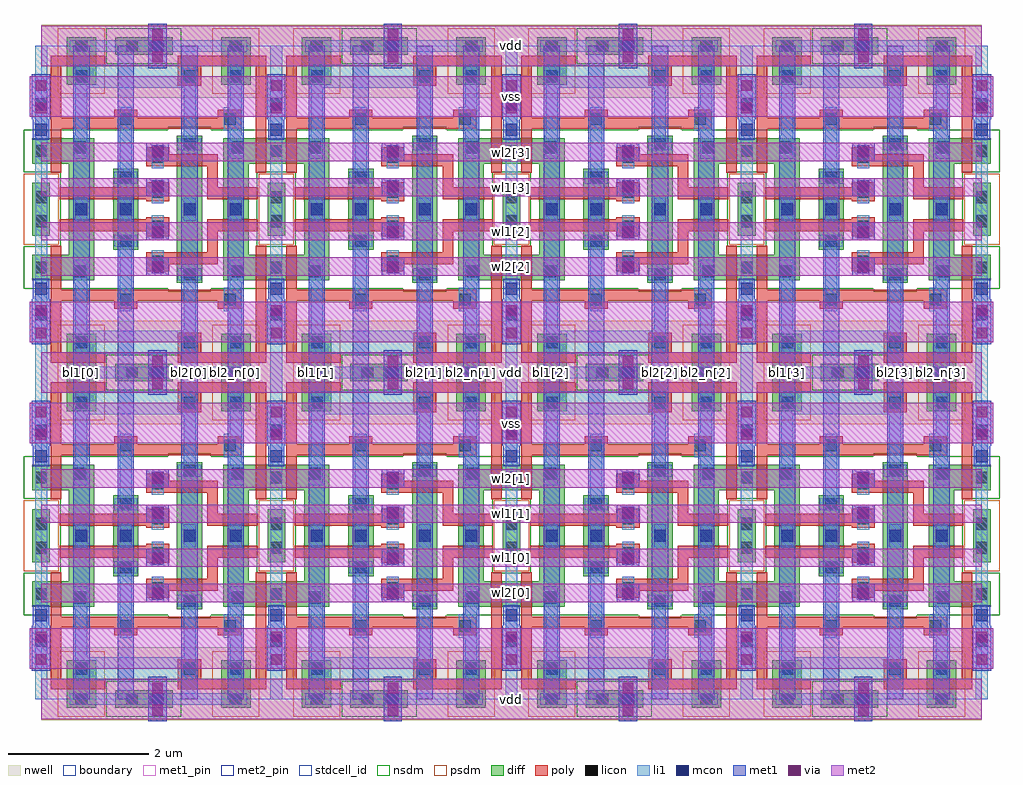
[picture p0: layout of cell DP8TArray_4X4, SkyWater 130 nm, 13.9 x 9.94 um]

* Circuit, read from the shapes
.subckt DP8TArray_4X4 bl1[0] bl1[1] bl1[2] bl1[3] bl1_n[0] bl1_n[1] bl1_n[2] bl1_n[3] bl2[0] bl2[1] bl2[2] bl2[3] bl2_n[0] bl2_n[1] bl2_n[2] bl2_n[3] vdd vss wl1[0] wl1[1] wl1[2] wl1[3] wl2[0] wl2[1] wl2[2] wl2[3]
XM1 n1 n2 vss VSUBS sky130_fd_pr__nfet_01v8 w=0.36 l=0.15
XM2 n3 n4 vss VSUBS sky130_fd_pr__nfet_01v8 w=0.36 l=0.15
XM3 n5 n6 vss VSUBS sky130_fd_pr__nfet_01v8 w=0.36 l=0.15
XM4 n7 n8 vss VSUBS sky130_fd_pr__nfet_01v8 w=0.36 l=0.15
XM5 bl1[0] wl1[0] n1 VSUBS sky130_fd_pr__nfet_01v8 w=0.36 l=0.17
XM6 n3 wl1[1] bl1[0] VSUBS sky130_fd_pr__nfet_01v8 w=0.36 l=0.17
XM7 bl1[0] wl1[2] n5 VSUBS sky130_fd_pr__nfet_01v8 w=0.36 l=0.17
XM8 n7 wl1[3] bl1[0] VSUBS sky130_fd_pr__nfet_01v8 w=0.36 l=0.17
XM9 bl1_n[0] wl1[0] n2 VSUBS sky130_fd_pr__nfet_01v8 w=0.36 l=0.17
XM10 n4 wl1[1] bl1_n[0] VSUBS sky130_fd_pr__nfet_01v8 w=0.36 l=0.17
XM11 bl1_n[0] wl1[2] n6 VSUBS sky130_fd_pr__nfet_01v8 w=0.36 l=0.17
XM12 n8 wl1[3] bl1_n[0] VSUBS sky130_fd_pr__nfet_01v8 w=0.36 l=0.17
XM13 bl2[0] wl2[0] n1 VSUBS sky130_fd_pr__nfet_01v8 w=0.36 l=0.17
XM14 n3 wl2[1] bl2[0] VSUBS sky130_fd_pr__nfet_01v8 w=0.36 l=0.17
XM15 bl2[0] wl2[2] n5 VSUBS sky130_fd_pr__nfet_01v8 w=0.36 l=0.17
XM16 n7 wl2[3] bl2[0] VSUBS sky130_fd_pr__nfet_01v8 w=0.36 l=0.17
XM17 bl2_n[0] wl2[0] n2 VSUBS sky130_fd_pr__nfet_01v8 w=0.36 l=0.17
XM18 n4 wl2[1] bl2_n[0] VSUBS sky130_fd_pr__nfet_01v8 w=0.36 l=0.17
XM19 bl2_n[0] wl2[2] n6 VSUBS sky130_fd_pr__nfet_01v8 w=0.36 l=0.17
XM20 n8 wl2[3] bl2_n[0] VSUBS sky130_fd_pr__nfet_01v8 w=0.36 l=0.17
XM21 vss n1 n2 VSUBS sky130_fd_pr__nfet_01v8 w=0.36 l=0.15
XM22 vss n3 n4 VSUBS sky130_fd_pr__nfet_01v8 w=0.36 l=0.15
XM23 vss n5 n6 VSUBS sky130_fd_pr__nfet_01v8 w=0.36 l=0.15
XM24 vss n7 n8 VSUBS sky130_fd_pr__nfet_01v8 w=0.36 l=0.15
XM25 n9 n10 vss VSUBS sky130_fd_pr__nfet_01v8 w=0.36 l=0.15
XM26 n11 n12 vss VSUBS sky130_fd_pr__nfet_01v8 w=0.36 l=0.15
XM27 n13 n14 vss VSUBS sky130_fd_pr__nfet_01v8 w=0.36 l=0.15
XM28 n15 n16 vss VSUBS sky130_fd_pr__nfet_01v8 w=0.36 l=0.15
XM29 bl1[1] wl1[0] n9 VSUBS sky130_fd_pr__nfet_01v8 w=0.36 l=0.17
XM30 n11 wl1[1] bl1[1] VSUBS sky130_fd_pr__nfet_01v8 w=0.36 l=0.17
XM31 bl1[1] wl1[2] n13 VSUBS sky130_fd_pr__nfet_01v8 w=0.36 l=0.17
XM32 n15 wl1[3] bl1[1] VSUBS sky130_fd_pr__nfet_01v8 w=0.36 l=0.17
XM33 bl1_n[1] wl1[0] n10 VSUBS sky130_fd_pr__nfet_01v8 w=0.36 l=0.17
XM34 n12 wl1[1] bl1_n[1] VSUBS sky130_fd_pr__nfet_01v8 w=0.36 l=0.17
XM35 bl1_n[1] wl1[2] n14 VSUBS sky130_fd_pr__nfet_01v8 w=0.36 l=0.17
XM36 n16 wl1[3] bl1_n[1] VSUBS sky130_fd_pr__nfet_01v8 w=0.36 l=0.17
XM37 bl2[1] wl2[0] n9 VSUBS sky130_fd_pr__nfet_01v8 w=0.36 l=0.17
XM38 n11 wl2[1] bl2[1] VSUBS sky130_fd_pr__nfet_01v8 w=0.36 l=0.17
XM39 bl2[1] wl2[2] n13 VSUBS sky130_fd_pr__nfet_01v8 w=0.36 l=0.17
XM40 n15 wl2[3] bl2[1] VSUBS sky130_fd_pr__nfet_01v8 w=0.36 l=0.17
XM41 bl2_n[1] wl2[0] n10 VSUBS sky130_fd_pr__nfet_01v8 w=0.36 l=0.17
XM42 n12 wl2[1] bl2_n[1] VSUBS sky130_fd_pr__nfet_01v8 w=0.36 l=0.17
XM43 bl2_n[1] wl2[2] n14 VSUBS sky130_fd_pr__nfet_01v8 w=0.36 l=0.17
XM44 n16 wl2[3] bl2_n[1] VSUBS sky130_fd_pr__nfet_01v8 w=0.36 l=0.17
XM45 vss n9 n10 VSUBS sky130_fd_pr__nfet_01v8 w=0.36 l=0.15
XM46 vss n11 n12 VSUBS sky130_fd_pr__nfet_01v8 w=0.36 l=0.15
XM47 vss n13 n14 VSUBS sky130_fd_pr__nfet_01v8 w=0.36 l=0.15
XM48 vss n15 n16 VSUBS sky130_fd_pr__nfet_01v8 w=0.36 l=0.15
XM49 n17 n18 vss VSUBS sky130_fd_pr__nfet_01v8 w=0.36 l=0.15
XM50 n19 n20 vss VSUBS sky130_fd_pr__nfet_01v8 w=0.36 l=0.15
XM51 n21 n22 vss VSUBS sky130_fd_pr__nfet_01v8 w=0.36 l=0.15
XM52 n23 n24 vss VSUBS sky130_fd_pr__nfet_01v8 w=0.36 l=0.15
XM53 bl1[2] wl1[0] n17 VSUBS sky130_fd_pr__nfet_01v8 w=0.36 l=0.17
XM54 n19 wl1[1] bl1[2] VSUBS sky130_fd_pr__nfet_01v8 w=0.36 l=0.17
XM55 bl1[2] wl1[2] n21 VSUBS sky130_fd_pr__nfet_01v8 w=0.36 l=0.17
XM56 n23 wl1[3] bl1[2] VSUBS sky130_fd_pr__nfet_01v8 w=0.36 l=0.17
XM57 bl1_n[2] wl1[0] n18 VSUBS sky130_fd_pr__nfet_01v8 w=0.36 l=0.17
XM58 n20 wl1[1] bl1_n[2] VSUBS sky130_fd_pr__nfet_01v8 w=0.36 l=0.17
XM59 bl1_n[2] wl1[2] n22 VSUBS sky130_fd_pr__nfet_01v8 w=0.36 l=0.17
XM60 n24 wl1[3] bl1_n[2] VSUBS sky130_fd_pr__nfet_01v8 w=0.36 l=0.17
XM61 bl2[2] wl2[0] n17 VSUBS sky130_fd_pr__nfet_01v8 w=0.36 l=0.17
XM62 n19 wl2[1] bl2[2] VSUBS sky130_fd_pr__nfet_01v8 w=0.36 l=0.17
XM63 bl2[2] wl2[2] n21 VSUBS sky130_fd_pr__nfet_01v8 w=0.36 l=0.17
XM64 n23 wl2[3] bl2[2] VSUBS sky130_fd_pr__nfet_01v8 w=0.36 l=0.17
XM65 bl2_n[2] wl2[0] n18 VSUBS sky130_fd_pr__nfet_01v8 w=0.36 l=0.17
XM66 n20 wl2[1] bl2_n[2] VSUBS sky130_fd_pr__nfet_01v8 w=0.36 l=0.17
XM67 bl2_n[2] wl2[2] n22 VSUBS sky130_fd_pr__nfet_01v8 w=0.36 l=0.17
XM68 n24 wl2[3] bl2_n[2] VSUBS sky130_fd_pr__nfet_01v8 w=0.36 l=0.17
XM69 vss n17 n18 VSUBS sky130_fd_pr__nfet_01v8 w=0.36 l=0.15
XM70 vss n19 n20 VSUBS sky130_fd_pr__nfet_01v8 w=0.36 l=0.15
XM71 vss n21 n22 VSUBS sky130_fd_pr__nfet_01v8 w=0.36 l=0.15
XM72 vss n23 n24 VSUBS sky130_fd_pr__nfet_01v8 w=0.36 l=0.15
XM73 n25 n26 vss VSUBS sky130_fd_pr__nfet_01v8 w=0.36 l=0.15
XM74 n27 n28 vss VSUBS sky130_fd_pr__nfet_01v8 w=0.36 l=0.15
XM75 n29 n30 vss VSUBS sky130_fd_pr__nfet_01v8 w=0.36 l=0.15
XM76 n31 n32 vss VSUBS sky130_fd_pr__nfet_01v8 w=0.36 l=0.15
XM77 bl1[3] wl1[0] n25 VSUBS sky130_fd_pr__nfet_01v8 w=0.36 l=0.17
XM78 n27 wl1[1] bl1[3] VSUBS sky130_fd_pr__nfet_01v8 w=0.36 l=0.17
XM79 bl1[3] wl1[2] n29 VSUBS sky130_fd_pr__nfet_01v8 w=0.36 l=0.17
XM80 n31 wl1[3] bl1[3] VSUBS sky130_fd_pr__nfet_01v8 w=0.36 l=0.17
XM81 bl1_n[3] wl1[0] n26 VSUBS sky130_fd_pr__nfet_01v8 w=0.36 l=0.17
XM82 n28 wl1[1] bl1_n[3] VSUBS sky130_fd_pr__nfet_01v8 w=0.36 l=0.17
XM83 bl1_n[3] wl1[2] n30 VSUBS sky130_fd_pr__nfet_01v8 w=0.36 l=0.17
XM84 n32 wl1[3] bl1_n[3] VSUBS sky130_fd_pr__nfet_01v8 w=0.36 l=0.17
XM85 bl2[3] wl2[0] n25 VSUBS sky130_fd_pr__nfet_01v8 w=0.36 l=0.17
XM86 n27 wl2[1] bl2[3] VSUBS sky130_fd_pr__nfet_01v8 w=0.36 l=0.17
XM87 bl2[3] wl2[2] n29 VSUBS sky130_fd_pr__nfet_01v8 w=0.36 l=0.17
XM88 n31 wl2[3] bl2[3] VSUBS sky130_fd_pr__nfet_01v8 w=0.36 l=0.17
XM89 bl2_n[3] wl2[0] n26 VSUBS sky130_fd_pr__nfet_01v8 w=0.36 l=0.17
XM90 n28 wl2[1] bl2_n[3] VSUBS sky130_fd_pr__nfet_01v8 w=0.36 l=0.17
XM91 bl2_n[3] wl2[2] n30 VSUBS sky130_fd_pr__nfet_01v8 w=0.36 l=0.17
XM92 n32 wl2[3] bl2_n[3] VSUBS sky130_fd_pr__nfet_01v8 w=0.36 l=0.17
XM93 vss n25 n26 VSUBS sky130_fd_pr__nfet_01v8 w=0.36 l=0.15
XM94 vss n27 n28 VSUBS sky130_fd_pr__nfet_01v8 w=0.36 l=0.15
XM95 vss n29 n30 VSUBS sky130_fd_pr__nfet_01v8 w=0.36 l=0.15
XM96 vss n31 n32 VSUBS sky130_fd_pr__nfet_01v8 w=0.36 l=0.15
XM97 n1 n2 vdd n33 sky130_fd_pr__pfet_01v8 w=0.42 l=0.15
XM98 vdd n4 n3 n34 sky130_fd_pr__pfet_01v8 w=0.42 l=0.15
XM99 n5 n6 vdd n34 sky130_fd_pr__pfet_01v8 w=0.42 l=0.15
XM100 vdd n8 n7 n35 sky130_fd_pr__pfet_01v8 w=0.42 l=0.15
XM101 n2 n1 vdd n33 sky130_fd_pr__pfet_01v8 w=0.42 l=0.15
XM102 vdd n3 n4 n34 sky130_fd_pr__pfet_01v8 w=0.42 l=0.15
XM103 n6 n5 vdd n34 sky130_fd_pr__pfet_01v8 w=0.42 l=0.15
XM104 vdd n7 n8 n35 sky130_fd_pr__pfet_01v8 w=0.42 l=0.15
XM105 n9 n10 vdd n33 sky130_fd_pr__pfet_01v8 w=0.42 l=0.15
XM106 vdd n12 n11 n34 sky130_fd_pr__pfet_01v8 w=0.42 l=0.15
XM107 n13 n14 vdd n34 sky130_fd_pr__pfet_01v8 w=0.42 l=0.15
XM108 vdd n16 n15 n35 sky130_fd_pr__pfet_01v8 w=0.42 l=0.15
XM109 n10 n9 vdd n33 sky130_fd_pr__pfet_01v8 w=0.42 l=0.15
XM110 vdd n11 n12 n34 sky130_fd_pr__pfet_01v8 w=0.42 l=0.15
XM111 n14 n13 vdd n34 sky130_fd_pr__pfet_01v8 w=0.42 l=0.15
XM112 vdd n15 n16 n35 sky130_fd_pr__pfet_01v8 w=0.42 l=0.15
XM113 n17 n18 vdd n33 sky130_fd_pr__pfet_01v8 w=0.42 l=0.15
XM114 vdd n20 n19 n34 sky130_fd_pr__pfet_01v8 w=0.42 l=0.15
XM115 n21 n22 vdd n34 sky130_fd_pr__pfet_01v8 w=0.42 l=0.15
XM116 vdd n24 n23 n35 sky130_fd_pr__pfet_01v8 w=0.42 l=0.15
XM117 n18 n17 vdd n33 sky130_fd_pr__pfet_01v8 w=0.42 l=0.15
XM118 vdd n19 n20 n34 sky130_fd_pr__pfet_01v8 w=0.42 l=0.15
XM119 n22 n21 vdd n34 sky130_fd_pr__pfet_01v8 w=0.42 l=0.15
XM120 vdd n23 n24 n35 sky130_fd_pr__pfet_01v8 w=0.42 l=0.15
XM121 n25 n26 vdd n33 sky130_fd_pr__pfet_01v8 w=0.42 l=0.15
XM122 vdd n28 n27 n34 sky130_fd_pr__pfet_01v8 w=0.42 l=0.15
XM123 n29 n30 vdd n34 sky130_fd_pr__pfet_01v8 w=0.42 l=0.15
XM124 vdd n32 n31 n35 sky130_fd_pr__pfet_01v8 w=0.42 l=0.15
XM125 n26 n25 vdd n33 sky130_fd_pr__pfet_01v8 w=0.42 l=0.15
XM126 vdd n27 n28 n34 sky130_fd_pr__pfet_01v8 w=0.42 l=0.15
XM127 n30 n29 vdd n34 sky130_fd_pr__pfet_01v8 w=0.42 l=0.15
XM128 vdd n31 n32 n35 sky130_fd_pr__pfet_01v8 w=0.42 l=0.15
.ends

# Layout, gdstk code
import gdstk
lib = gdstk.Library(unit=1e-6, precision=1e-09)
def R(c, l, rs):  # rectangles x0, y0, x1, y1
    for r in rs: c.add(gdstk.rectangle(r[:2], r[2:], *l))
def P(c, l, *ps):  # polygons
    for p in ps: c.add(gdstk.Polygon(p, *l))
nwell = (64, 20)
diff = (65, 20)
poly = (66, 20)
licon = (66, 44)
li1 = (67, 20)
mcon = (67, 44)
met1_pin = (68, 16)
met1 = (68, 20)
via = (68, 44)
met2_pin = (69, 16)
met2 = (69, 20)
stdcell_id = (81, 4)
nsdm = (93, 44)
psdm = (94, 20)
boundary = (235, 4)

dp8tcell = lib.new_cell('DP8TCell')
R(dp8tcell, nwell, [(0,1.59,3.35,2.63)])
R(dp8tcell, diff, [(-0.125,-0.38,0.125,0.38), (3.225,-0.38,3.475,0.38), (1.025,-0.125,1.385,0.575), (1.935,-0.125,2.295,1.05), (0.365,1.77,0.785,2.45), (2.565,1.77,2.985,2.45), (1.055,2.2,1.875,2.45)])
P(dp8tcell, diff, [(0.395,-0.125),(0.395,0.65),(-0.125,0.65),(-0.125,1.01),(0.755,1.01),(0.755,-0.125)],
  [(2.595,-0.125),(2.595,1.01),(3.475,1.01),(3.475,0.65),(2.955,0.65),(2.955,-0.125)])
P(dp8tcell, poly, [(3.06,0.52),(3.06,2.035),(2.28,2.035),(2.28,1.76),(1.95,1.76),(1.95,2.185),(3.21,2.185),(3.21,0.52)],
  [(0.14,0.52),(0.14,2.185),(0.915,2.185),(0.915,2.035),(0.29,2.035),(0.29,1.3),(1.04,1.3),(1.04,1.42),(1.37,1.42),(1.37,1.3),(2.52,1.3),(2.52,1.42),(2.85,1.42),(2.85,1.15),(0.29,1.15),(0.29,0.52)],
  [(1.495,0.115),(1.495,0.14),(0.265,0.14),(0.265,0.31),(1.495,0.31),(1.495,0.385),(1.825,0.385),(1.825,0.115)],
  [(2.37,0.14),(2.37,0.615),(1.495,0.615),(1.495,0.885),(1.825,0.885),(1.825,0.785),(2.52,0.785),(2.52,0.31),(3.085,0.31),(3.085,0.14)])
R(dp8tcell, licon, [(-0.085,-0.255,0.085,-0.085), (3.265,-0.255,3.435,-0.085), (0.49,-0.085,0.66,0.085), (1.12,-0.085,1.29,0.085), (2.03,-0.085,2.2,0.085), (2.69,-0.085,2.86,0.085), (-0.085,0.085,0.085,0.255), (3.265,0.085,3.435,0.255), (1.575,0.165,1.745,0.335), (1.12,0.365,1.29,0.535), (1.575,0.665,1.745,0.835), (-0.085,0.745,0.085,0.915), (3.265,0.745,3.435,0.915), (0.465,0.8,0.635,0.97), (2.715,0.8,2.885,0.97), (2.03,0.84,2.2,1.01), (1.12,1.2,1.29,1.37), (2.6,1.2,2.77,1.37), (0.49,1.81,0.66,1.98), (2.03,1.81,2.2,1.98), (2.69,1.81,2.86,1.98), (0.49,2.24,0.66,2.41), (1.21,2.24,1.38,2.41), (1.55,2.24,1.72,2.41), (2.69,2.24,2.86,2.41)])
R(dp8tcell, li1, [(-0.085,-0.335,0.085,2.325), (3.265,-0.335,3.435,2.325), (0.49,-0.165,0.66,0.165), (1.12,-0.165,1.29,0.165), (2.03,-0.165,2.2,0.165), (2.69,-0.165,2.86,0.165), (1.575,0.085,1.745,0.415), (1.575,0.585,1.745,0.915), (0.41,2.24,2.94,2.41)])
P(dp8tcell, li1, [(0.465,0.72),(0.465,1.05),(0.49,1.05),(0.49,2.06),(2.2,2.06),(2.2,1.01),(2.28,1.01),(2.28,0.84),(1.95,0.84),(1.95,1.01),(2.03,1.01),(2.03,1.73),(0.66,1.73),(0.66,0.72)],
  [(2.69,0.72),(2.69,1.12),(2.6,1.12),(2.6,1.45),(2.69,1.45),(2.69,2.06),(2.86,2.06),(2.86,1.05),(2.885,1.05),(2.885,0.72)],
  [(1.04,0.365),(1.04,0.535),(1.12,0.535),(1.12,1.45),(1.29,1.45),(1.29,0.535),(1.37,0.535),(1.37,0.365)])
R(dp8tcell, mcon, [(0.49,-0.085,0.66,0.085), (1.12,-0.085,1.29,0.085), (2.03,-0.085,2.2,0.085), (2.69,-0.085,2.86,0.085), (1.575,0.245,1.745,0.415), (1.575,0.745,1.745,0.915), (-0.085,1.05,0.085,1.22), (3.265,1.05,3.435,1.22), (-0.085,1.41,0.085,1.58), (3.265,1.41,3.435,1.58), (1.575,2.24,1.745,2.41)])
R(dp8tcell, met1_pin, [(0.46,-0.145,0.69,2.325), (1.09,-0.145,1.32,2.325), (2,-0.145,2.23,2.325), (2.66,-0.145,2.89,2.325)])
R(dp8tcell, met1, [(0.46,-0.145,0.69,2.325), (1.09,-0.145,1.32,2.325), (2,-0.145,2.23,2.325), (2.66,-0.145,2.89,2.325), (1.5,0.185,1.82,0.445), (1.5,0.685,1.82,0.945), (1.53,2.005,1.79,2.645)])
P(dp8tcell, met1, [(-0.115,0.99),(-0.115,1.285),(-0.13,1.285),(-0.13,1.925),(0.13,1.925),(0.13,1.285),(0.115,1.285),(0.115,0.99)],
  [(3.235,0.99),(3.235,1.285),(3.22,1.285),(3.22,1.925),(3.48,1.925),(3.48,1.285),(3.465,1.285),(3.465,0.99)])
R(dp8tcell, via, [(1.585,0.24,1.735,0.39), (1.585,0.74,1.735,0.89), (-0.075,1.37,0.075,1.52), (3.275,1.37,3.425,1.52), (-0.075,1.69,0.075,1.84), (3.275,1.69,3.425,1.84), (1.585,2.09,1.735,2.24), (1.585,2.41,1.735,2.56)])
R(dp8tcell, met2_pin, [(0,0.185,3.35,0.445), (0,0.685,3.35,0.945), (-0.16,1.315,3.51,1.895), (0,2.035,3.35,2.615)])
R(dp8tcell, met2, [(0,0.185,3.35,0.445), (0,0.685,3.35,0.945), (-0.16,1.315,3.51,1.895), (0,2.035,3.35,2.615)])
R(dp8tcell, stdcell_id, [(0.39,0.135,0.76,0.315), (1.02,0.135,1.39,0.315), (2.59,0.135,2.96,0.315), (1.93,0.61,2.3,0.79), (0.135,0.645,0.295,1.015), (3.055,0.645,3.215,1.015)])
R(dp8tcell, nsdm, [(0.93,2.075,2,2.575)])
P(dp8tcell, nsdm, [(0.27,-0.25),(0.27,0.525),(-0.25,0.525),(-0.25,1.135),(1.81,1.135),(1.81,1.175),(2.42,1.175),(2.42,1.135),(3.6,1.135),(3.6,0.525),(3.08,0.525),(3.08,-0.25)])
R(dp8tcell, psdm, [(-0.25,-0.505,0.25,0.505), (3.1,-0.505,3.6,0.505), (0.24,1.645,0.91,2.575), (2.44,1.645,3.11,2.575)])
R(dp8tcell, boundary, [(0,0,3.35,2.325)])
dp8tcell.add(gdstk.Label('vss', (1.675,1.605), layer=69, texttype=16))
dp8tcell.add(gdstk.Label('wl1', (1.675,0.315), layer=69, texttype=16))
dp8tcell.add(gdstk.Label('wl2', (1.675,0.815), layer=69, texttype=16))
dp8tcell.add(gdstk.Label('vdd', (1.675,2.325), layer=69, texttype=16))
dp8tcell.add(gdstk.Label('bl1', (0.575,1.09), layer=68, texttype=16))
dp8tcell.add(gdstk.Label('bl1_n', (1.205,1.09), layer=68, texttype=16))
dp8tcell.add(gdstk.Label('bl2', (2.115,1.09), layer=68, texttype=16))
dp8tcell.add(gdstk.Label('bl2_n', (2.775,1.09), layer=68, texttype=16))

dp8tarray_2x1 = lib.new_cell('DP8TArray_2X1')
R(dp8tarray_2x1, met1_pin, [(0.46,0,0.69,4.65), (1.09,0,1.32,4.65), (2,0,2.23,4.65), (2.66,0,2.89,4.65)])
R(dp8tarray_2x1, met1, [(0.46,0,0.69,4.65), (1.09,0,1.32,4.65), (2,0,2.23,4.65), (2.66,0,2.89,4.65)])
R(dp8tarray_2x1, met2_pin, [(0,-0.29,3.35,0.29), (0,1.38,3.35,1.64), (0,1.88,3.35,2.14), (0,2.51,3.35,2.77), (0,3.01,3.35,3.27), (0,3.64,3.35,4.22), (0,4.36,3.35,4.94)])
R(dp8tarray_2x1, met2, [(0,-0.29,3.35,0.29), (0,1.38,3.35,1.64), (0,1.88,3.35,2.14), (0,2.51,3.35,2.77), (0,3.01,3.35,3.27), (0,3.64,3.35,4.22), (0,4.36,3.35,4.94)])
R(dp8tarray_2x1, boundary, [(0,0,3.35,4.65)])
dp8tarray_2x1.add(gdstk.Reference(dp8tcell, (0,2.325), x_reflection=True))
dp8tarray_2x1.add(gdstk.Reference(dp8tcell, (0,2.325)))
dp8tarray_2x1.add(gdstk.Label('vss', (1.675,3.93), layer=69, texttype=16))
dp8tarray_2x1.add(gdstk.Label('vdd', (1.675,4.65), layer=69, texttype=16))
dp8tarray_2x1.add(gdstk.Label('vdd', (1.675,0), layer=69, texttype=16))
dp8tarray_2x1.add(gdstk.Label('wl1[0]', (1.675,2.01), layer=69, texttype=16))
dp8tarray_2x1.add(gdstk.Label('wl2[0]', (1.675,1.51), layer=69, texttype=16))
dp8tarray_2x1.add(gdstk.Label('wl1[1]', (1.675,2.64), layer=69, texttype=16))
dp8tarray_2x1.add(gdstk.Label('wl2[1]', (1.675,3.14), layer=69, texttype=16))
dp8tarray_2x1.add(gdstk.Label('bl1[0]', (0.575,2.325), layer=68, texttype=16))
dp8tarray_2x1.add(gdstk.Label('bl1_n[0]', (1.205,2.325), layer=68, texttype=16))
dp8tarray_2x1.add(gdstk.Label('bl2[0]', (2.115,2.325), layer=68, texttype=16))
dp8tarray_2x1.add(gdstk.Label('bl2_n[0]', (2.775,2.325), layer=68, texttype=16))

dp8tarray_2x2 = lib.new_cell('DP8TArray_2X2')
R(dp8tarray_2x2, met1_pin, [(0.46,0,0.69,4.65), (1.09,0,1.32,4.65), (2,0,2.23,4.65), (2.66,0,2.89,4.65), (3.81,0,4.04,4.65), (4.44,0,4.67,4.65), (5.35,0,5.58,4.65), (6.01,0,6.24,4.65)])
R(dp8tarray_2x2, met1, [(0.46,0,0.69,4.65), (1.09,0,1.32,4.65), (2,0,2.23,4.65), (2.66,0,2.89,4.65), (3.81,0,4.04,4.65), (4.44,0,4.67,4.65), (5.35,0,5.58,4.65), (6.01,0,6.24,4.65)])
R(dp8tarray_2x2, met2_pin, [(0,-0.29,6.7,0.29), (0,1.38,6.7,1.64), (0,1.88,6.7,2.14), (0,2.51,6.7,2.77), (0,3.01,6.7,3.27), (0,3.64,6.7,4.22), (0,4.36,6.7,4.94)])
R(dp8tarray_2x2, met2, [(0,-0.29,6.7,0.29), (0,1.38,6.7,1.64), (0,1.88,6.7,2.14), (0,2.51,6.7,2.77), (0,3.01,6.7,3.27), (0,3.64,6.7,4.22), (0,4.36,6.7,4.94)])
R(dp8tarray_2x2, boundary, [(0,0,6.7,4.65)])
dp8tarray_2x2.add(gdstk.Reference(dp8tarray_2x1, (0,0)))
dp8tarray_2x2.add(gdstk.Reference(dp8tarray_2x1, (3.35,0)))
dp8tarray_2x2.add(gdstk.Label('vss', (3.35,3.93), layer=69, texttype=16))
dp8tarray_2x2.add(gdstk.Label('vdd', (3.35,4.65), layer=69, texttype=16))
dp8tarray_2x2.add(gdstk.Label('vdd', (3.35,0), layer=69, texttype=16))
dp8tarray_2x2.add(gdstk.Label('wl1[0]', (3.35,2.01), layer=69, texttype=16))
dp8tarray_2x2.add(gdstk.Label('wl2[0]', (3.35,1.51), layer=69, texttype=16))
dp8tarray_2x2.add(gdstk.Label('wl1[1]', (3.35,2.64), layer=69, texttype=16))
dp8tarray_2x2.add(gdstk.Label('wl2[1]', (3.35,3.14), layer=69, texttype=16))
dp8tarray_2x2.add(gdstk.Label('bl1[0]', (0.575,2.325), layer=68, texttype=16))
dp8tarray_2x2.add(gdstk.Label('bl1_n[0]', (1.205,2.325), layer=68, texttype=16))
dp8tarray_2x2.add(gdstk.Label('bl2[0]', (2.115,2.325), layer=68, texttype=16))
dp8tarray_2x2.add(gdstk.Label('bl2_n[0]', (2.775,2.325), layer=68, texttype=16))
dp8tarray_2x2.add(gdstk.Label('bl1[1]', (3.925,2.325), layer=68, texttype=16))
dp8tarray_2x2.add(gdstk.Label('bl1_n[1]', (4.555,2.325), layer=68, texttype=16))
dp8tarray_2x2.add(gdstk.Label('bl2[1]', (5.465,2.325), layer=68, texttype=16))
dp8tarray_2x2.add(gdstk.Label('bl2_n[1]', (6.125,2.325), layer=68, texttype=16))

dp8tarray_4x2 = lib.new_cell('DP8TArray_4X2')
R(dp8tarray_4x2, met1_pin, [(0.46,0,0.69,9.3), (1.09,0,1.32,9.3), (2,0,2.23,9.3), (2.66,0,2.89,9.3), (3.81,0,4.04,9.3), (4.44,0,4.67,9.3), (5.35,0,5.58,9.3), (6.01,0,6.24,9.3)])
R(dp8tarray_4x2, met1, [(0.46,0,0.69,9.3), (1.09,0,1.32,9.3), (2,0,2.23,9.3), (2.66,0,2.89,9.3), (3.81,0,4.04,9.3), (4.44,0,4.67,9.3), (5.35,0,5.58,9.3), (6.01,0,6.24,9.3)])
R(dp8tarray_4x2, met2_pin, [(0,-0.29,6.7,0.29), (0,1.38,6.7,1.64), (0,1.88,6.7,2.14), (0,2.51,6.7,2.77), (0,3.01,6.7,3.27), (0,3.64,6.7,4.22), (0,4.36,6.7,4.94), (0,6.03,6.7,6.29), (0,6.53,6.7,6.79), (0,7.16,6.7,7.42), (0,7.66,6.7,7.92), (0,8.29,6.7,8.87), (0,9.01,6.7,9.59)])
R(dp8tarray_4x2, met2, [(0,-0.29,6.7,0.29), (0,1.38,6.7,1.64), (0,1.88,6.7,2.14), (0,2.51,6.7,2.77), (0,3.01,6.7,3.27), (0,3.64,6.7,4.22), (0,4.36,6.7,4.94), (0,6.03,6.7,6.29), (0,6.53,6.7,6.79), (0,7.16,6.7,7.42), (0,7.66,6.7,7.92), (0,8.29,6.7,8.87), (0,9.01,6.7,9.59)])
R(dp8tarray_4x2, boundary, [(0,0,6.7,9.3)])
dp8tarray_4x2.add(gdstk.Reference(dp8tarray_2x2, (0,0)))
dp8tarray_4x2.add(gdstk.Reference(dp8tarray_2x2, (0,4.65)))
dp8tarray_4x2.add(gdstk.Label('vss', (3.35,8.58), layer=69, texttype=16))
dp8tarray_4x2.add(gdstk.Label('vss', (3.35,3.93), layer=69, texttype=16))
dp8tarray_4x2.add(gdstk.Label('vdd', (3.35,4.65), layer=69, texttype=16))
dp8tarray_4x2.add(gdstk.Label('vdd', (3.35,9.3), layer=69, texttype=16))
dp8tarray_4x2.add(gdstk.Label('vdd', (3.35,0), layer=69, texttype=16))
dp8tarray_4x2.add(gdstk.Label('wl1[0]', (3.35,2.01), layer=69, texttype=16))
dp8tarray_4x2.add(gdstk.Label('wl2[0]', (3.35,1.51), layer=69, texttype=16))
dp8tarray_4x2.add(gdstk.Label('wl1[1]', (3.35,2.64), layer=69, texttype=16))
dp8tarray_4x2.add(gdstk.Label('wl2[1]', (3.35,3.14), layer=69, texttype=16))
dp8tarray_4x2.add(gdstk.Label('wl1[2]', (3.35,6.66), layer=69, texttype=16))
dp8tarray_4x2.add(gdstk.Label('wl2[2]', (3.35,6.16), layer=69, texttype=16))
dp8tarray_4x2.add(gdstk.Label('wl1[3]', (3.35,7.29), layer=69, texttype=16))
dp8tarray_4x2.add(gdstk.Label('wl2[3]', (3.35,7.79), layer=69, texttype=16))
dp8tarray_4x2.add(gdstk.Label('bl1[0]', (0.575,4.65), layer=68, texttype=16))
dp8tarray_4x2.add(gdstk.Label('bl1_n[0]', (1.205,4.65), layer=68, texttype=16))
dp8tarray_4x2.add(gdstk.Label('bl2[0]', (2.115,4.65), layer=68, texttype=16))
dp8tarray_4x2.add(gdstk.Label('bl2_n[0]', (2.775,4.65), layer=68, texttype=16))
dp8tarray_4x2.add(gdstk.Label('bl1[1]', (3.925,4.65), layer=68, texttype=16))
dp8tarray_4x2.add(gdstk.Label('bl1_n[1]', (4.555,4.65), layer=68, texttype=16))
dp8tarray_4x2.add(gdstk.Label('bl2[1]', (5.465,4.65), layer=68, texttype=16))
dp8tarray_4x2.add(gdstk.Label('bl2_n[1]', (6.125,4.65), layer=68, texttype=16))

dp8tarray_4x4 = lib.new_cell('DP8TArray_4X4')
R(dp8tarray_4x4, met1_pin, [(0.46,0,0.69,9.3), (1.09,0,1.32,9.3), (2,0,2.23,9.3), (2.66,0,2.89,9.3), (3.81,0,4.04,9.3), (4.44,0,4.67,9.3), (5.35,0,5.58,9.3), (6.01,0,6.24,9.3), (7.16,0,7.39,9.3), (7.79,0,8.02,9.3), (8.7,0,8.93,9.3), (9.36,0,9.59,9.3), (10.51,0,10.74,9.3), (11.14,0,11.37,9.3), (12.05,0,12.28,9.3), (12.71,0,12.94,9.3)])
R(dp8tarray_4x4, met1, [(0.46,0,0.69,9.3), (1.09,0,1.32,9.3), (2,0,2.23,9.3), (2.66,0,2.89,9.3), (3.81,0,4.04,9.3), (4.44,0,4.67,9.3), (5.35,0,5.58,9.3), (6.01,0,6.24,9.3), (7.16,0,7.39,9.3), (7.79,0,8.02,9.3), (8.7,0,8.93,9.3), (9.36,0,9.59,9.3), (10.51,0,10.74,9.3), (11.14,0,11.37,9.3), (12.05,0,12.28,9.3), (12.71,0,12.94,9.3)])
R(dp8tarray_4x4, met2_pin, [(0,-0.29,13.4,0.29), (0,1.38,13.4,1.64), (0,1.88,13.4,2.14), (0,2.51,13.4,2.77), (0,3.01,13.4,3.27), (0,3.64,13.4,4.22), (0,4.36,13.4,4.94), (0,6.03,13.4,6.29), (0,6.53,13.4,6.79), (0,7.16,13.4,7.42), (0,7.66,13.4,7.92), (0,8.29,13.4,8.87), (0,9.01,13.4,9.59)])
R(dp8tarray_4x4, met2, [(0,-0.29,13.4,0.29), (0,1.38,13.4,1.64), (0,1.88,13.4,2.14), (0,2.51,13.4,2.77), (0,3.01,13.4,3.27), (0,3.64,13.4,4.22), (0,4.36,13.4,4.94), (0,6.03,13.4,6.29), (0,6.53,13.4,6.79), (0,7.16,13.4,7.42), (0,7.66,13.4,7.92), (0,8.29,13.4,8.87), (0,9.01,13.4,9.59)])
R(dp8tarray_4x4, boundary, [(0,0,13.4,9.3)])
dp8tarray_4x4.add(gdstk.Reference(dp8tarray_4x2, (0,0)))
dp8tarray_4x4.add(gdstk.Reference(dp8tarray_4x2, (6.7,0)))
dp8tarray_4x4.add(gdstk.Label('vss', (6.7,3.93), layer=69, texttype=16))
dp8tarray_4x4.add(gdstk.Label('vss', (6.7,8.58), layer=69, texttype=16))
dp8tarray_4x4.add(gdstk.Label('vdd', (6.7,0), layer=69, texttype=16))
dp8tarray_4x4.add(gdstk.Label('vdd', (6.7,4.65), layer=69, texttype=16))
dp8tarray_4x4.add(gdstk.Label('vdd', (6.7,9.3), layer=69, texttype=16))
dp8tarray_4x4.add(gdstk.Label('wl1[0]', (6.7,2.01), layer=69, texttype=16))
dp8tarray_4x4.add(gdstk.Label('wl2[0]', (6.7,1.51), layer=69, texttype=16))
dp8tarray_4x4.add(gdstk.Label('wl1[1]', (6.7,2.64), layer=69, texttype=16))
dp8tarray_4x4.add(gdstk.Label('wl2[1]', (6.7,3.14), layer=69, texttype=16))
dp8tarray_4x4.add(gdstk.Label('wl1[2]', (6.7,6.66), layer=69, texttype=16))
dp8tarray_4x4.add(gdstk.Label('wl2[2]', (6.7,6.16), layer=69, texttype=16))
dp8tarray_4x4.add(gdstk.Label('wl1[3]', (6.7,7.29), layer=69, texttype=16))
dp8tarray_4x4.add(gdstk.Label('wl2[3]', (6.7,7.79), layer=69, texttype=16))
dp8tarray_4x4.add(gdstk.Label('bl1[0]', (0.575,4.65), layer=68, texttype=16))
dp8tarray_4x4.add(gdstk.Label('bl1_n[0]', (1.205,4.65), layer=68, texttype=16))
dp8tarray_4x4.add(gdstk.Label('bl2[0]', (2.115,4.65), layer=68, texttype=16))
dp8tarray_4x4.add(gdstk.Label('bl2_n[0]', (2.775,4.65), layer=68, texttype=16))
dp8tarray_4x4.add(gdstk.Label('bl1[1]', (3.925,4.65), layer=68, texttype=16))
dp8tarray_4x4.add(gdstk.Label('bl1_n[1]', (4.555,4.65), layer=68, texttype=16))
dp8tarray_4x4.add(gdstk.Label('bl2[1]', (5.465,4.65), layer=68, texttype=16))
dp8tarray_4x4.add(gdstk.Label('bl2_n[1]', (6.125,4.65), layer=68, texttype=16))
dp8tarray_4x4.add(gdstk.Label('bl1[2]', (7.275,4.65), layer=68, texttype=16))
dp8tarray_4x4.add(gdstk.Label('bl1_n[2]', (7.905,4.65), layer=68, texttype=16))
dp8tarray_4x4.add(gdstk.Label('bl2[2]', (8.815,4.65), layer=68, texttype=16))
dp8tarray_4x4.add(gdstk.Label('bl2_n[2]', (9.475,4.65), layer=68, texttype=16))
dp8tarray_4x4.add(gdstk.Label('bl1[3]', (10.625,4.65), layer=68, texttype=16))
dp8tarray_4x4.add(gdstk.Label('bl1_n[3]', (11.255,4.65), layer=68, texttype=16))
dp8tarray_4x4.add(gdstk.Label('bl2[3]', (12.165,4.65), layer=68, texttype=16))
dp8tarray_4x4.add(gdstk.Label('bl2_n[3]', (12.825,4.65), layer=68, texttype=16))

lib.write_gds('DP8TArray_4X4.gds')
